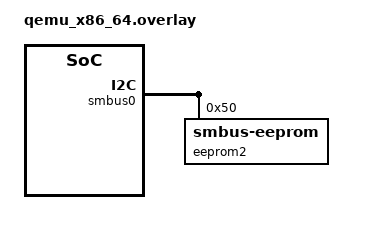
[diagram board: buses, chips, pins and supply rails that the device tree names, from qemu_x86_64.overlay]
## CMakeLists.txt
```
# Copyright (c) 2023 Intel Corporation
# SPDX-License-Identifier: Apache-2.0

cmake_minimum_required(VERSION 3.28.0)
find_package(Zephyr REQUIRED HINTS $ENV{ZEPHYR_BASE})
project(smbus)

target_sources(app PRIVATE src/main.c)
```

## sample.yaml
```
sample:
  description: SMBus sample
  name: smbus sample
common:
  platform_allow:
    - qemu_x86_64/atom
    - intel_ehl_crb/elkhart_lake
    - intel_rpl_s_crb/raptor_lake
  harness: console
  harness_config:
    type: one_line
    regex:
      - "Start SMBUS shell sample"
tests:
  sample.drivers.smbus.shell:
    tags: smbus
```

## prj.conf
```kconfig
CONFIG_SMBUS=y
CONFIG_SMBUS_SHELL=y
CONFIG_SMBUS_INTEL_PCH=y
CONFIG_SMBUS_LOG_LEVEL_DBG=y
CONFIG_USERSPACE=y
CONFIG_SHELL=y
CONFIG_LOG=y

CONFIG_EEPROM=y
CONFIG_EEPROM_EMULATOR=n
CONFIG_EEPROM_SIMULATOR=n
```

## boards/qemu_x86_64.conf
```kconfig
CONFIG_DYNAMIC_INTERRUPTS=y

CONFIG_PCIE=y
```

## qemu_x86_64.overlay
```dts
/*
 * Copyright (c) 2022 Intel Corporation
 *
 * SPDX-License-Identifier: Apache-2.0
 */

#include <zephyr/dt-bindings/pcie/pcie.h>

&smbus0 {
	eeprom2: smbus_eeprom@50 {
		compatible = "jedec,smbus-eeprom";
		reg = <0x50>;
		size = <0x100>;

		status = "okay";
	};
};
```

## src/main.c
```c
/*
 * Copyright (c) 2022 Intel Corporation
 *
 * SPDX-License-Identifier: Apache-2.0
 */

#include <zephyr/kernel.h>

int main(void)
{
	printk("Start SMBUS shell sample %s\n", CONFIG_BOARD);
	return 0;
}
```
